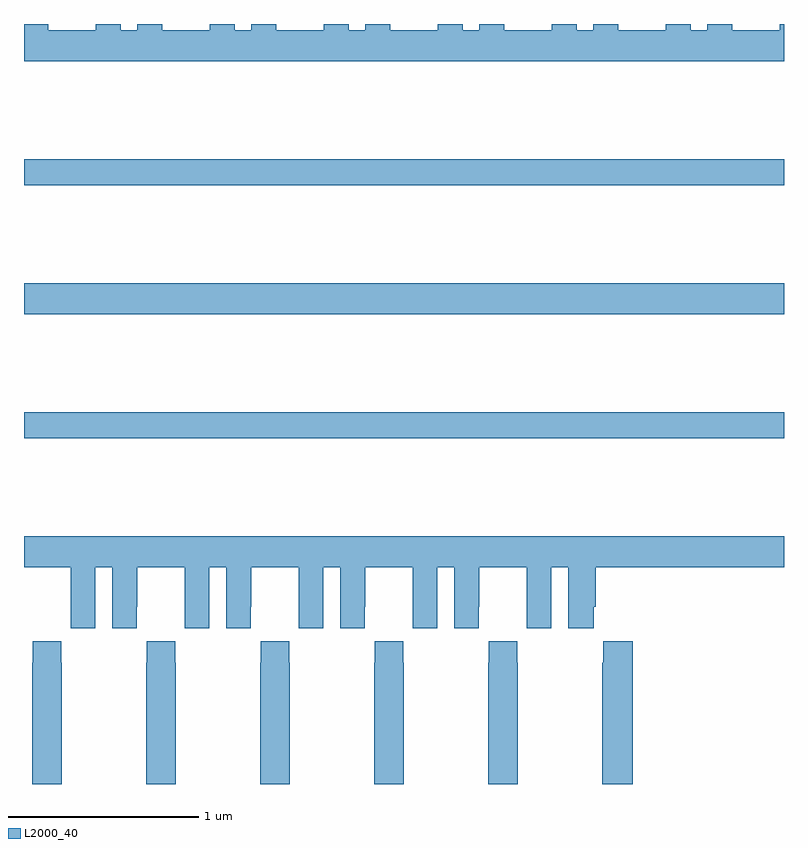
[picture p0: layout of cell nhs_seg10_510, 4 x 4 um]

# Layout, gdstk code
import gdstk
lib = gdstk.Library(unit=1e-6, precision=1e-09)
def R(c, l, rs):  # rectangles x0, y0, x1, y1
    for r in rs: c.add(gdstk.rectangle(r[:2], r[2:], *l))
def P(c, l, *ps):  # polygons
    for p in ps: c.add(gdstk.Polygon(p, *l))
L2000_40 = (2000, 40)

nhs_seg10_510 = lib.new_cell('nhs_seg10_510')
R(nhs_seg10_510, L2000_40, [(135,1310.32,139,1310.456), (135,1310.972,139,1311.136), (135,1311.652,139,1311.788)])
P(nhs_seg10_510, L2000_40, [(137.396,1312.5),(137.396,1312.468),(137.308,1312.468),(137.308,1312.5),(137.177,1312.5),(137.177,1312.468),(136.927,1312.468),(136.927,1312.5),(136.796,1312.5),(136.796,1312.468),(136.708,1312.468),(136.708,1312.5),(136.577,1312.5),(136.577,1312.468),(136.327,1312.468),(136.327,1312.5),(136.196,1312.5),(136.196,1312.468),(136.108,1312.468),(136.108,1312.5),(135.977,1312.5),(135.977,1312.468),(135.727,1312.468),(135.727,1312.5),(135.596,1312.5),(135.596,1312.468),(135.508,1312.468),(135.508,1312.5),(135.377,1312.5),(135.377,1312.468),(135.127,1312.468),(135.127,1312.5),(135,1312.5),(135,1312.304),(139,1312.304),(139,1312.5),(138.977,1312.5),(138.977,1312.468),(138.727,1312.468),(138.727,1312.5),(138.596,1312.5),(138.596,1312.468),(138.508,1312.468),(138.508,1312.5),(138.377,1312.5),(138.377,1312.468),(138.127,1312.468),(138.127,1312.5),(137.996,1312.5),(137.996,1312.468),(137.908,1312.468),(137.908,1312.5),(137.777,1312.5),(137.777,1312.468),(137.527,1312.468),(137.527,1312.5)],
  [(135.376,1309.64),(135.464,1309.64),(135.464,1309.32),(135.594,1309.32),(135.594,1309.432),(135.595,1309.432),(135.595,1309.64),(135.845,1309.64),(135.845,1309.432),(135.846,1309.432),(135.846,1309.32),(135.976,1309.32),(135.976,1309.64),(136.064,1309.64),(136.064,1309.32),(136.194,1309.32),(136.194,1309.432),(136.195,1309.432),(136.195,1309.64),(136.445,1309.64),(136.445,1309.432),(136.446,1309.432),(136.446,1309.32),(136.576,1309.32),(136.576,1309.64),(136.664,1309.64),(136.664,1309.32),(136.794,1309.32),(136.794,1309.432),(136.795,1309.432),(136.795,1309.64),(137.045,1309.64),(137.045,1309.432),(137.046,1309.432),(137.046,1309.32),(137.176,1309.32),(137.176,1309.64),(137.264,1309.64),(137.264,1309.32),(137.394,1309.32),(137.394,1309.432),(137.395,1309.432),(137.395,1309.64),(137.645,1309.64),(137.645,1309.432),(137.646,1309.432),(137.646,1309.32),(137.776,1309.32),(137.776,1309.64),(137.864,1309.64),(137.864,1309.32),(137.998,1309.32),(137.998,1309.432),(138.008,1309.432),(138.008,1309.64),(139,1309.64),(139,1309.804),(135,1309.804),(135,1309.64),(135.245,1309.64),(135.245,1309.432),(135.246,1309.432),(135.246,1309.32),(135.376,1309.32)],
  [(138.203,1309.252),(138.049,1309.252),(138.049,1309.139),(138.043,1309.139),(138.043,1308.5),(138.203,1308.5)],
  [(137.598,1309.139),(137.595,1309.139),(137.595,1309.252),(137.445,1309.252),(137.445,1309.139),(137.443,1309.139),(137.443,1308.5),(137.598,1308.5)],
  [(136.998,1309.139),(136.995,1309.139),(136.995,1309.252),(136.845,1309.252),(136.845,1309.139),(136.843,1309.139),(136.843,1308.5),(136.998,1308.5)],
  [(136.398,1309.139),(136.395,1309.139),(136.395,1309.252),(136.245,1309.252),(136.245,1309.139),(136.243,1309.139),(136.243,1308.5),(136.398,1308.5)],
  [(135.798,1309.139),(135.795,1309.139),(135.795,1309.252),(135.645,1309.252),(135.645,1309.139),(135.643,1309.139),(135.643,1308.5),(135.798,1308.5)],
  [(135.045,1309.139),(135.043,1309.139),(135.043,1308.5),(135.198,1308.5),(135.198,1309.139),(135.195,1309.139),(135.195,1309.252),(135.045,1309.252)])

lib.write_gds('nhs_seg10_510.gds')
